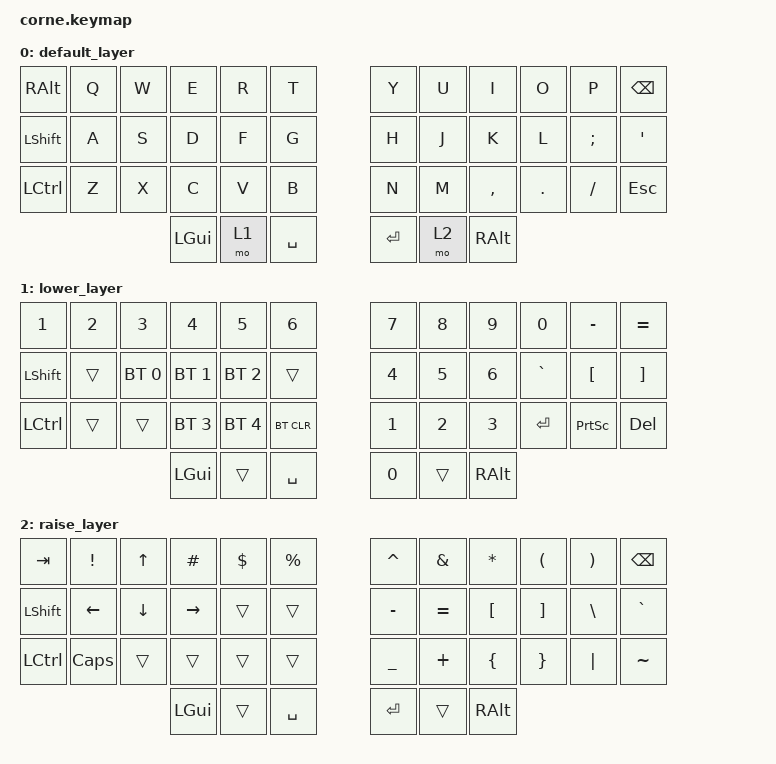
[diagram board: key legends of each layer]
/*
 * Copyright (c) 2020 The ZMK Contributors
 *
 * SPDX-License-Identifier: MIT
 */

#include <behaviors.dtsi>
#include <dt-bindings/zmk/keys.h>
#include <dt-bindings/zmk/bt.h>

/ {
        keymap {
                compatible = "zmk,keymap";

                default_layer {
// -----------------------------------------------------------------------------------------
// | RALT  |  Q  |  W  |  E   |  R  |  T  |   |  Y  |  U   |  I  |  O  |  P  | BKSP |
// | LSHFT |  A  |  S  |  D   |  F  |  G  |   |  H  |  J   |  K  |  L  |  ;  |  '   |
// | LCTRL |  Z  |  X  |  C   |  V  |  B  |   |  N  |  M   |  ,  |  .  |  /  | ESC  |
//                     | LGUI | LWR | SPC |   | RET |  RSE | RALT |
                        bindings = <
   &kp RALT  &kp Q &kp W &kp E &kp R &kp T   &kp Y &kp U  &kp I     &kp O   &kp P    &kp BSPC
   &kp LSHFT &kp A &kp S &kp D &kp F &kp G   &kp H &kp J  &kp K     &kp L   &kp SEMI &kp SQT
   &kp LCTRL &kp Z &kp X &kp C &kp V &kp B   &kp N &kp M  &kp COMMA &kp DOT &kp FSLH &kp ESC
                  &kp LGUI &mo 1 &kp SPACE   &kp RET &mo 2 &kp RALT
                        >;
                };
                lower_layer {
// -----------------------------------------------------------------------------------------
// |   1   |  2  |  3  |  4  |  5  |   6   |   | 7 | 8 | 9 |   0   |  MINUS  | EQUAL |
// | LSHFT |     | BT1 | BT2 | BT3 |       |   | 4 | 5 | 6 | GRAVE |  LBKT   | RBKT  |
// | LCTRL |     |     | BT4 | BT5 | BTCLR |   | 1 | 2 | 3 |  RET  |  PSCRN  |  DEL  |
//                     | GUI |     |  SPC  |   | 0 |   | ALT |
                        bindings = <
   &kp N1     &kp N2  &kp N3       &kp N4       &kp N5       &kp N6       &kp N7   &kp N8   &kp N9 &kp N0    &kp MINUS &kp EQUAL
   &kp LSHFT  &trans  &bt BT_SEL 0 &bt BT_SEL 1 &bt BT_SEL 2 &trans       &kp N4   &kp N5   &kp N6 &kp GRAVE &kp LBKT  &kp RBKT
   &kp LCTRL  &trans  &trans       &bt BT_SEL 3 &bt BT_SEL 4 &bt BT_CLR   &kp N1   &kp N2   &kp N3 &kp RET   &kp PSCRN &kp DEL
                                   &kp LGUI     &trans       &kp SPACE    &kp N0   &trans   &kp RALT
                        >;
                };

                raise_layer {
// -----------------------------------------------------------------------------------------
// |  TAB  |   !   |  UP  |  #  |  $  |  %  |   |  ^  |  &  |  *  |  (  |  )  | BKSP |
// | LSHFT |  LFT  |  DWN | RGT |     |     |   |  -  |  =  |  [  |  ]  |  \  |  `   |
// | LCTRL |  CAPS |      |     |     |     |   |  _  |  +  |  {  |  }  | "|" |  ~   |
//                    | GUI |     | SPC |   | ENT |     | ALT |
                        bindings = <
   &kp TAB  &kp EXCL &kp UP  &kp HASH &kp DLLR &kp PRCNT   &kp CARET &kp AMPS  &kp ASTRK &kp LPAR &kp RPAR &kp BSPC
   &kp LSHFT &kp LEFT  &kp DOWN &kp RIGHT  &trans   &trans      &kp MINUS &kp EQUAL &kp LBKT  &kp RBKT &kp BSLH &kp GRAVE
   &kp LCTRL &kp CAPS &trans  &trans   &trans   &trans      &kp UNDER &kp PLUS  &kp LBRC  &kp RBRC &kp PIPE &kp TILDE
                             &kp LGUI &trans   &kp SPACE   &kp RET   &trans    &kp RALT
                        >;
                };
        };
};
